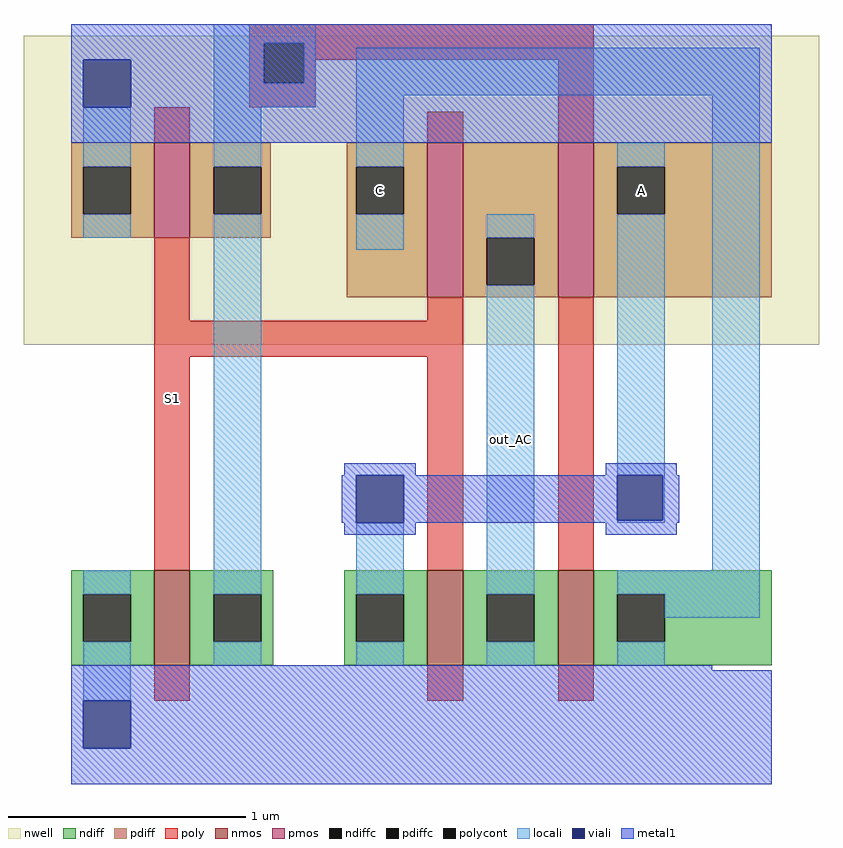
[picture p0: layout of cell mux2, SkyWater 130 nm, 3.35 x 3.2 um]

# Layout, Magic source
magic
tech sky130A
<< nwell >>
rect -15 185 320 315
<< nmos >>
rect 40 50 55 90
rect 155 50 170 90
rect 210 50 225 90
<< pmos >>
rect 40 230 55 270
rect 155 205 170 270
rect 210 205 225 270
<< ndiff >>
rect 5 80 40 90
rect 5 60 10 80
rect 30 60 40 80
rect 5 50 40 60
rect 55 80 90 90
rect 55 60 65 80
rect 85 60 90 80
rect 55 50 90 60
rect 120 80 155 90
rect 120 60 125 80
rect 145 60 155 80
rect 120 50 155 60
rect 170 80 210 90
rect 170 60 180 80
rect 200 60 210 80
rect 170 50 210 60
rect 225 80 300 90
rect 225 60 235 80
rect 255 60 300 80
rect 225 50 300 60
<< pdiff >>
rect 5 260 40 270
rect 5 240 10 260
rect 30 240 40 260
rect 5 230 40 240
rect 55 260 89 270
rect 55 240 65 260
rect 85 240 89 260
rect 55 230 89 240
rect 121 260 155 270
rect 121 240 125 260
rect 145 240 155 260
rect 121 205 155 240
rect 170 230 210 270
rect 170 210 180 230
rect 200 210 210 230
rect 170 205 210 210
rect 225 260 300 270
rect 225 240 235 260
rect 255 240 300 260
rect 225 205 300 240
<< ndiffc >>
rect 10 60 30 80
rect 65 60 85 80
rect 125 60 145 80
rect 180 60 200 80
rect 235 60 255 80
<< pdiffc >>
rect 10 240 30 260
rect 65 240 85 260
rect 125 240 145 260
rect 180 210 200 230
rect 235 240 255 260
<< poly >>
rect 80 312 225 320
rect 80 295 86 312
rect 103 305 225 312
rect 103 295 108 305
rect 80 285 108 295
rect 40 270 55 285
rect 155 270 170 283
rect 210 270 225 305
rect 40 195 55 230
rect 155 195 170 205
rect 40 180 170 195
rect 40 90 55 180
rect 155 90 170 180
rect 210 90 225 205
rect 40 35 55 50
rect 155 35 170 50
rect 210 35 225 50
<< polycont >>
rect 86 295 103 312
<< locali >>
rect 65 312 108 320
rect 10 260 30 285
rect 10 230 30 240
rect 65 295 86 312
rect 103 295 108 312
rect 65 285 108 295
rect 125 290 295 310
rect 65 260 85 285
rect 10 80 30 90
rect 10 35 30 60
rect 65 80 85 240
rect 125 260 145 290
rect 235 260 255 270
rect 125 225 145 240
rect 180 230 200 240
rect 65 50 85 60
rect 125 80 145 110
rect 125 50 145 60
rect 180 80 200 210
rect 235 130 255 240
rect 254 111 255 130
rect 235 110 255 111
rect 275 90 295 290
rect 180 50 200 60
rect 235 80 295 90
rect 255 70 295 80
rect 235 50 255 60
<< viali >>
rect 10 285 30 305
rect 125 110 145 130
rect 235 111 254 130
rect 10 15 30 35
<< metal1 >>
rect 5 305 300 320
rect 5 285 10 305
rect 30 285 300 305
rect 5 270 300 285
rect 120 130 150 135
rect 230 130 260 135
rect 119 110 125 130
rect 145 111 235 130
rect 254 111 261 130
rect 145 110 261 111
rect 120 105 150 110
rect 230 105 260 110
rect 5 48 275 50
rect 5 35 300 48
rect 5 15 10 35
rect 30 15 300 35
rect 5 0 300 15
<< labels >>
rlabel poly 40 145 55 180 1 S1
rlabel locali 185 135 195 155 1 out_AC
rlabel pdiffc 125 240 145 260 1 C
rlabel pdiffc 235 240 255 260 1 A
<< end >>
